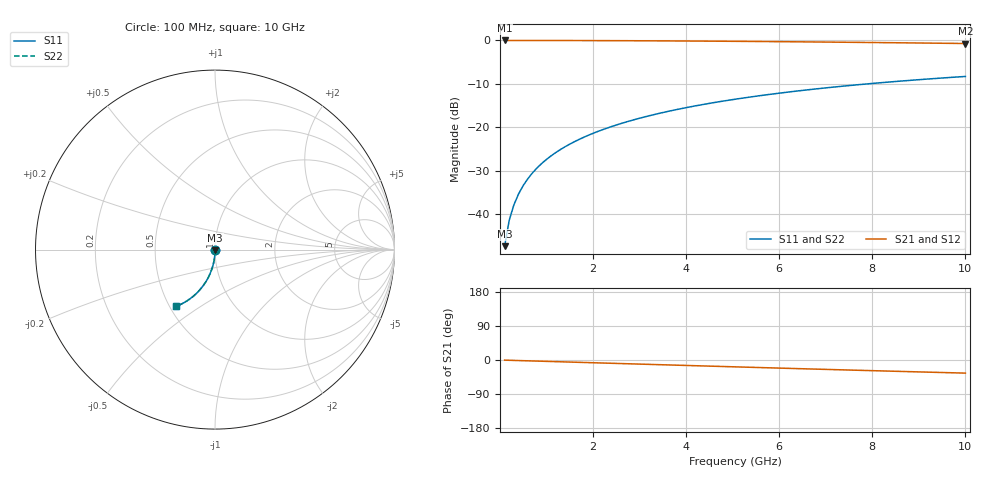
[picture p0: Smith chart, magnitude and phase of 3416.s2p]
# Hz S RI R 50.00
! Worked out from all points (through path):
!   100 points, 100 MHz to 10 GHz, reference 50 ohm
!   highest |S21| = 0.00 dB at 100 MHz (marker M1); lowest = -0.7 dB at 10 GHz (marker M2)
!   group delay of S21, straight-line fit = 9.65 ps
!   lowest |S11| = -47.3 dB at 100 MHz (marker M3), VSWR 1.01, Z = 50 - j0.429 ohm
!   |S11| at or under -10 dB: start of sweep to 7.893 GHz
!   |S22| runs from -47.3 to -8.3 dB; largest |S21 - S12| = 0
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1e8  0.000269 -0.00428  0.9997 -0.00631  0.9997 -0.00631  0.000269 -0.00428
2e8  0.000185 -0.00857  0.9996 -0.0126  0.9996 -0.0126  0.000185 -0.00857
3e8  4.62e-05 -0.0128  0.9994 -0.0189  0.9994 -0.0189  4.62e-05 -0.0128
4e8  -0.000147 -0.0171  0.9992 -0.0252  0.9992 -0.0252  -0.000147 -0.0171
5e8  -0.000394 -0.0214  0.9989 -0.0315  0.9989 -0.0315  -0.000394 -0.0214
6e8  -0.000695 -0.0257  0.9986 -0.0378  0.9986 -0.0378  -0.000695 -0.0257
7e8  -0.00105 -0.0299  0.9982 -0.0441  0.9982 -0.0441  -0.00105 -0.0299
8e8  -0.00146 -0.0342  0.9978 -0.0504  0.9978 -0.0504  -0.00146 -0.0342
9e8  -0.00192 -0.0385  0.9973 -0.0567  0.9973 -0.0567  -0.00192 -0.0385
1.1e9  -0.00301 -0.047  0.9961 -0.0692  0.9961 -0.0692  -0.00301 -0.047
1.4e9  -0.00504 -0.0596  0.9939 -0.088  0.9939 -0.088  -0.00504 -0.0596
1.8e9  -0.00848 -0.0764  0.9902 -0.1129  0.9902 -0.1129  -0.00848 -0.0764
2.1e9  -0.0116 -0.0888  0.9868 -0.1314  0.9868 -0.1314  -0.0116 -0.0888
2.5e9  -0.0165 -0.1051  0.9816 -0.1559  0.9816 -0.1559  -0.0165 -0.1051
2.9e9  -0.0222 -0.1212  0.9754 -0.18  0.9754 -0.18  -0.0222 -0.1212
3.4e9  -0.0304 -0.1407  0.9666 -0.2098  0.9666 -0.2098  -0.0304 -0.1407
4.2e9  -0.0459 -0.1706  0.9498 -0.256  0.9498 -0.256  -0.0459 -0.1706
5.1e9  -0.0665 -0.2019  0.9274 -0.3058  0.9274 -0.3058  -0.0665 -0.2019
5.9e9  -0.0873 -0.2273  0.9047 -0.3478  0.9047 -0.3478  -0.0873 -0.2273
6.7e9  -0.1102 -0.2503  0.8797 -0.3874  0.8797 -0.3874  -0.1102 -0.2503
8.4e9  -0.164 -0.2905  0.8202 -0.4631  0.8202 -0.4631  -0.164 -0.2905
1e10  -0.2188 -0.317  0.7589 -0.5235  0.7589 -0.5235  -0.2188 -0.317
